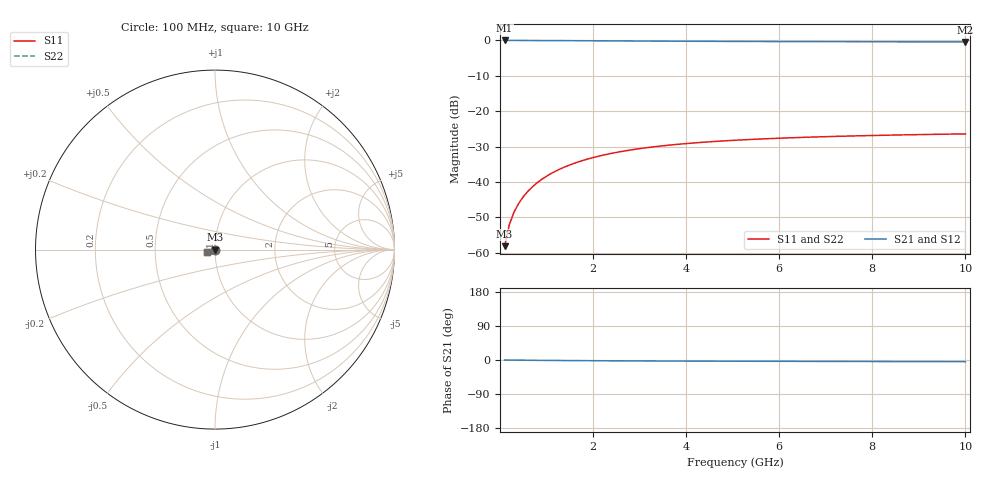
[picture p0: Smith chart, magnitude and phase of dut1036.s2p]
! Touchstone file exported from HFSS 2024.1.0
!  File:  C:/UserFiles/LocalFiles/RDL_TSV_Batchsim/temp_TSV1_1036_1780061280.aedt
!  Generated:  09:32:10 PM May 29, 2026
!  Design:  TSV1
!  Project:  temp_TSV1_1036_1780061280
!  Setup:  Setup1
!  Solution:  Sweep
! Variables:
!  dtsv = 11.16um
!  hbump = 3um
!  htsv = 69.04um
!  lrdl = 252.1521522um
!  p = 40
!  p1 = 41.57um
!  t = 500um
!  trdl = 3um
!  wrdl = 24.89489489um
# GHz S MA R 50.000000
! Terminal data exported
! Port[1] = TSV22_T1
! Port[2] = TSV22_T2
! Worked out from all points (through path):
!   100 points, 100 MHz to 10 GHz, reference 50 ohm
!   highest |S21| = 0.00 dB at 100 MHz (marker M1); lowest = -0.4 dB at 10 GHz (marker M2)
!   lowest |S11| = -58.1 dB at 100 MHz (marker M3), VSWR 1.00, Z = 50 - j0.124 ohm
!   |S11| at or under -10 dB: start of sweep to end of sweep
!   |S22| runs from -58.1 to -26.4 dB; largest |S21 - S12| = 1.2e-14
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0.1  0.00124 -86.4  0.9999 -0.1  0.9999 -0.1  0.00124 -86.4
! Gamma 0 0 0 0
! Port Impedance 50 0 50 0
0.2  0.002483 -90.7  0.9997 -0.2  0.9997 -0.2  0.002483 -90.7
0.3  0.003724 -93.0  0.9996 -0.3  0.9996 -0.3  0.003724 -93.0
0.4  0.004957 -94.9  0.9993 -0.4  0.9993 -0.4  0.004957 -94.9
0.5  0.00618 -96.6  0.999 -0.5  0.999 -0.5  0.00618 -96.6
0.6  0.007391 -98.2  0.9987 -0.6  0.9987 -0.6  0.007391 -98.2
0.7  0.008587 -99.7  0.9983 -0.7  0.9983 -0.7  0.008587 -99.7
0.8  0.009766 -101.2  0.9978 -0.8  0.9978 -0.8  0.009766 -101.2
0.9  0.01093 -102.7  0.9973 -0.9  0.9973 -0.9  0.01093 -102.7
1.1  0.01319 -105.6  0.9961 -1.1  0.9961 -1.1  0.01319 -105.6
1.4  0.0164 -109.7  0.9941 -1.4  0.9941 -1.4  0.0164 -109.7
1.6  0.01842 -112.3  0.9926 -1.6  0.9926 -1.6  0.01842 -112.3
1.8  0.02033 -114.8  0.9911 -1.7  0.9911 -1.7  0.02033 -114.8
2.1  0.023 -118.4  0.9887 -1.9  0.9887 -1.9  0.023 -118.4
2.5  0.02618 -122.7  0.9856 -2.2  0.9856 -2.2  0.02618 -122.7
2.9  0.02896 -126.7  0.9825 -2.4  0.9825 -2.4  0.02896 -126.7
3.4  0.03194 -131.1  0.9789 -2.6  0.9789 -2.6  0.03194 -131.1
4.2  0.03578 -137.1  0.9737 -2.9  0.9737 -2.9  0.03578 -137.1
5.1  0.03905 -142.7  0.9688 -3.2  0.9688 -3.2  0.03905 -142.7
6.7  0.04312 -150.2  0.9623 -3.6  0.9623 -3.6  0.04312 -150.2
8.4  0.04597 -156.3  0.9575 -4.1  0.9575 -4.1  0.04597 -156.3
10  0.04783 -160.9  0.9543 -4.5  0.9543 -4.5  0.04783 -160.9
